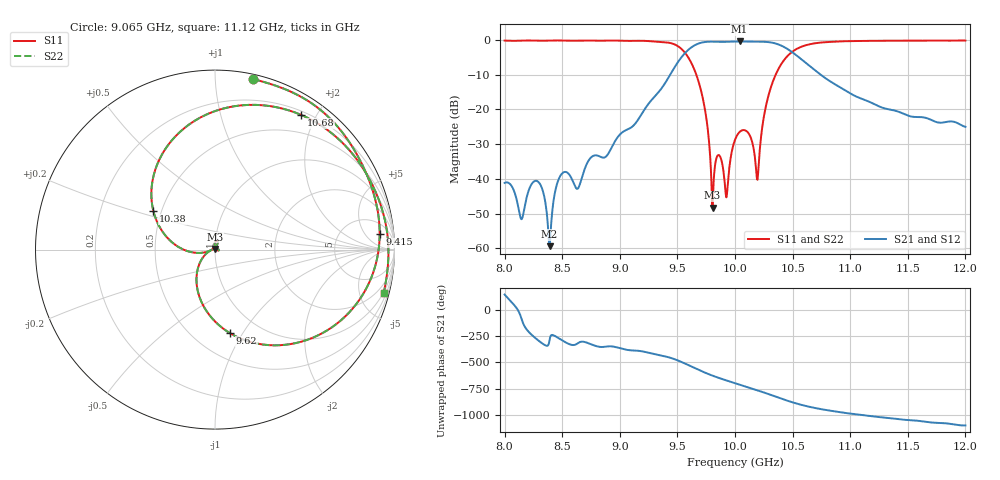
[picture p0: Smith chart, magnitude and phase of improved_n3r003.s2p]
! Improved SIW post filter n3r003: order 3, ripple 0.03 dB
! openEMS v0.37 FDTD, reciprocal & symmetric: S22=S11, S12=S21
# GHz S MA R 50
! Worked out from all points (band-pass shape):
!   801 points, 8 GHz to 12 GHz, reference 50 ohm
!   highest |S21| = -0.41 dB at 10.04 GHz (marker M1); lowest = -59.4 dB at 8.39 GHz (marker M2)
!   |S21| within 3 dB of the highest: 9.576 GHz to 10.49 GHz (917.5 MHz wide, 9.14 % of centre)
!   lowest |S11| = -48.3 dB at 9.805 GHz (marker M3), VSWR 1.01, Z = 50.1 + j0.381 ohm
!   |S11| at or under -10 dB: 9.664 GHz to 10.35 GHz (688.5 MHz wide, 6.88 % of centre)
!   |S22| runs from -48.3 to -0.1 dB; largest |S21 - S12| = 0
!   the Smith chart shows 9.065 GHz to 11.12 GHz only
!   S11 on the Smith chart (normalised r, x): 9.065 GHz: 0.03, +1.25; 9.415 GHz: 11, +12; 9.62 GHz: 0.73, -0.88; 10.38 GHz: 0.45, +0.23; 10.68 GHz: 0.25, +1.80; 11.12 GHz: 0.96, -7.85
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8  0.9821 -142.3  0.008752 148.3  0.008752 148.3  0.9821 -142.3
8.145  0.9813 -160.2  0.002625 -76.5  0.002625 -76.5  0.9813 -160.2
8.295  0.979 -179.6  0.008981 68.0  0.008981 68.0  0.979 -179.6
8.39  0.9823 168.9  0.001074 72.6  0.001074 72.6  0.9823 168.9
8.485  0.9856 156.5  0.01116 81.0  0.01116 81.0  0.9856 156.5
8.67  0.9857 133.2  0.01032 58.7  0.01032 58.7  0.9857 133.2
9.065  0.9733 77.5  0.05145 -20.1  0.05145 -20.1  0.9733 77.5
9.335  0.9435 26.5  0.1767 -69.2  0.1767 -69.2  0.9435 26.5
9.415  0.9214 5.3  0.2744 -87.8  0.2744 -87.8  0.9214 5.3
9.62  0.4721 -79.9  0.782 -177.7  0.782 -177.7  0.4721 -79.9
9.735  0.1095 -139.5  0.9357 125.1  0.9357 125.1  0.1095 -139.5
9.805  0.003856 80.8  0.9481 94.3  0.9481 94.3  0.003856 80.8
9.93  0.006009 62.2  0.9442 47.0  0.9442 47.0  0.006009 62.2
10  0.0365 92.4  0.952 22.0  0.952 22.0  0.0365 92.4
10.04  0.04745 83.2  0.9537 7.8  0.9537 7.8  0.04745 83.2
10.195  0.009707 136.5  0.9471 -46.1  0.9471 -46.1  0.009707 136.5
10.385  0.4051 147.9  0.855 -118.1  0.855 -118.1  0.4051 147.9
10.67  0.8846 59.7  0.3961 151.3  0.3961 151.3  0.8846 59.7
10.68  0.8907 57.5  0.3841 148.9  0.3841 148.9  0.8907 57.5
11.12  0.9703 -14.3  0.1386 76.7  0.1386 76.7  0.9703 -14.3
11.335  0.9757 -40.5  0.1005 51.1  0.1005 51.1  0.9757 -40.5
12  0.9842 -110.5  0.05627 -20.9  0.05627 -20.9  0.9842 -110.5
